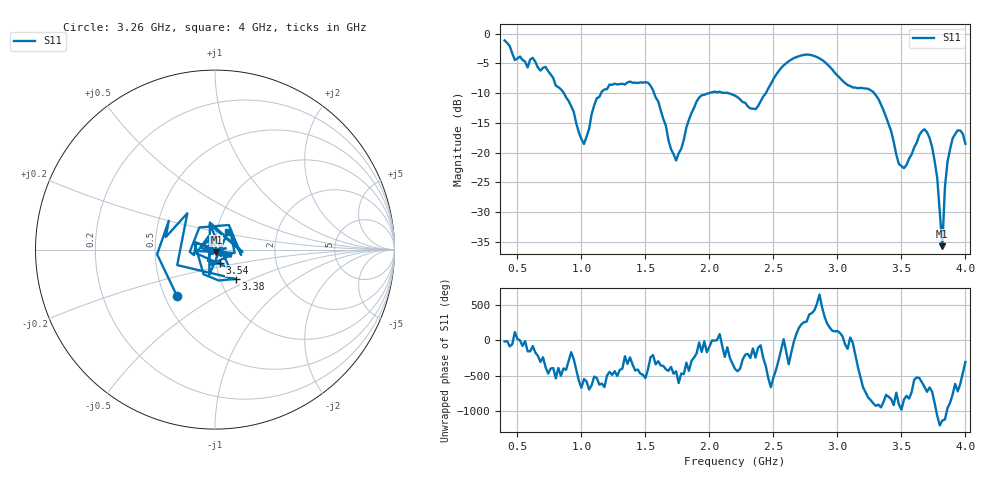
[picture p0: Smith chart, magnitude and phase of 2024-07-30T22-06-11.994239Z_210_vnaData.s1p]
!Created with skrf (http://scikit-rf.org).
# Hz S RI R 50.0
!freq ReS11 ImS11
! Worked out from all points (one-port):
!   181 points, 400 MHz to 4 GHz, reference 50 ohm
!   lowest |S11| = -35.7 dB at 3.82 GHz (marker M1), VSWR 1.03, Z = 50.8 - j1.44 ohm
!   |S11| at or under -10 dB: 1.568 GHz to 1.996 GHz (427.8 MHz wide, 24 % of centre); 2.148 GHz to 2.441 GHz (293.4 MHz wide, 12.8 % of centre); 3.287 GHz to end of sweep (the widest 3 of 4)
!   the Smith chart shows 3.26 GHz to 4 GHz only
!   S11 on the Smith chart (normalised r, x): 3.26 GHz: 0.58, -0.34; 3.38 GHz: 1.18, -0.40; 3.54 GHz: 1.05, -0.15; 4 GHz: 1.13, +0.22
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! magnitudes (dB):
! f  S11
! 400 MHz  -1.1
! 480 MHz  -4.4
! 860 MHz  -9.9
! 1.02 GHz  -18.5
! 1.12 GHz  -10.9
! 1.3 GHz  -8.5
! 1.54 GHz  -8.7
! 1.7 GHz  -19.4
! 1.76 GHz  -20.1
! 1.92 GHz  -10.7
! 2.2 GHz  -10.4
! 2.36 GHz  -12.7
! 2.66 GHz  -4.1
! 2.84 GHz  -3.9
! 3.1 GHz  -8.8
! 3.26 GHz  -9.5
! 3.38 GHz  -14.0
! 3.48 GHz  -21.9
! 3.54 GHz  -22.1
! 3.56 GHz  -21.0
! 3.66 GHz  -16.4
! 3.72 GHz  -17.5
! 3.78 GHz  -24.2
! 3.82 GHz  -35.7
! 3.84 GHz  -25.8
! 3.88 GHz  -19.5
! 3.94 GHz  -16.3
! 4 GHz  -18.5
